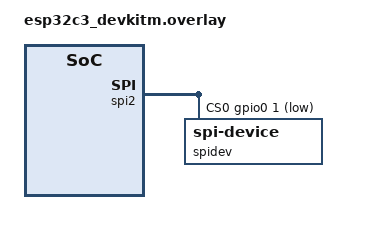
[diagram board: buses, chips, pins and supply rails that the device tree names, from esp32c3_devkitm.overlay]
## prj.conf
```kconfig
CONFIG_RUST=y
CONFIG_RUST_ALLOC_POOL=y
CONFIG_SERIAL=y
CONFIG_UART_NATIVE_POSIX=y
CONFIG_NATIVE_UART_0_ON_OWN_PTY=y
CONFIG_USERSPACE=y
CONFIG_QEMU_ICOUNT=n
CONFIG_LOG=y

# enable SPI
CONFIG_SPI=y
CONFIG_GPIO=y

CONFIG_MAIN_STACK_SIZE=12288

# enable cooperative scheduling and disable preemtive scheduling
# CONFIG_NUM_PREEMPT_PRIORITIES=0
```

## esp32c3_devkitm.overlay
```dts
&spi2 {
	status = "okay";
	cs-gpios = <&gpio0 1 GPIO_ACTIVE_LOW>;
	spidev: spi-device@0 {
		reg = <0>;
	};

};
```

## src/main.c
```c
/*
 * Copyright (C) 2025  Markus Elias Gerber
 * 
 * This program is free software: you can redistribute it and/or modify
 * it under the terms of the GNU General Public License as published by
 * the Free Software Foundation, either version 3 of the License, or
 * (at your option) any later version.
 *
 * This program is distributed in the hope that it will be useful,
 * but WITHOUT ANY WARRANTY; without even the implied warranty of
 * MERCHANTABILITY or FITNESS FOR A PARTICULAR PURPOSE.  See the
 * GNU General Public License for more details.
 * 
 * You should have received a copy of the GNU General Public License
 * along with this program.  If not, see <https://www.gnu.org/licenses/>.
 */

#include <version.h>
#if KERNEL_VERSION_MAJOR < 3
#include <zephyr.h>
#else
#include <zephyr/kernel.h>
#endif

#include <stdio.h>
#include <stdatomic.h>

#include "../../common/atomics/atomics.h"
#include "../../common/spi_fram_storage/include/mb85rs4mt_spi_fram.h"

extern void rust_main(void);

extern void persist(void);

atomic_int last_pressed;

static void button_pressed(const struct device *port, struct gpio_callback *cb, gpio_port_pins_t pins) {
	// debounce button press
	uint32_t curr_time = (uint32_t) k_uptime_get();
	if (curr_time - last_pressed < 500) {
		// last_pressed = curr_time;
		return;
	}
	last_pressed = curr_time;

	// TODO: is printing safe to communicate with UART? If not: make it safe
	printf("persist\n");
	persist();
}

void main(void)
{
	const struct device *port = DEVICE_DT_GET(DT_NODELABEL(gpio0));
	printf("%d\n", gpio_pin_configure(port, 0, GPIO_INPUT | GPIO_PULL_UP));
	printf("%d\n", gpio_pin_interrupt_configure(port, 0, GPIO_INT_EDGE_FALLING));

	struct gpio_callback callback;

    // initialize callback structure for button interrupt
    gpio_init_callback(&callback, button_pressed, BIT(0));

    // attach callback function to button interrupt
    gpio_add_callback(port, &callback);

	rust_main();
}
```
